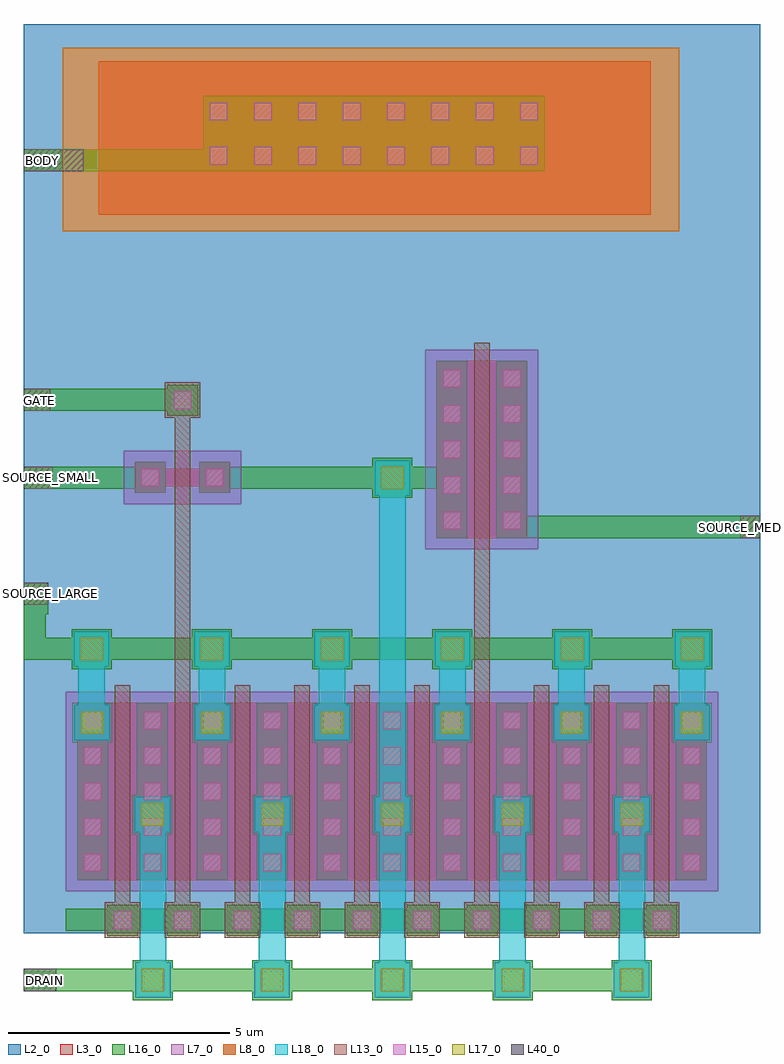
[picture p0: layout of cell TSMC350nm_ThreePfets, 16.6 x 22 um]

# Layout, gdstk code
import gdstk
lib = gdstk.Library(unit=1e-6, precision=1e-09)
def R(c, l, rs):  # rectangles x0, y0, x1, y1
    for r in rs: c.add(gdstk.rectangle(r[:2], r[2:], *l))
def A(c, l, x, y, w, h, nx, ny, dx, dy):  # array of equal rectangles
    R(c, l, [(x+i*dx, y+j*dy, x+i*dx+w, y+j*dy+h) for i in range(nx) for j in range(ny)])
L2_0 = (2, 0)
L3_0 = (3, 0)
L7_0 = (7, 0)
L8_0 = (8, 0)
L13_0 = (13, 0)
L15_0 = (15, 0)
L16_0 = (16, 0)
L17_0 = (17, 0)
L18_0 = (18, 0)
L40_0 = (40, 0)

pch_cdns_731039164600 = lib.new_cell('pch_CDNS_731039164600')
R(pch_cdns_731039164600, L2_0, [(-2.05,-1.2,2.4,5.2)])
R(pch_cdns_731039164600, L3_0, [(-0.85,0,-0.15,4), (-0.85,0,-0.15,4), (-0.15,0,0.5,4), (0.5,0,1.2,4), (0.5,0,1.2,4)])
R(pch_cdns_731039164600, L7_0, [(-1.1,-0.25,1.45,4.25)])
R(pch_cdns_731039164600, L13_0, [(0,-0.4,0.35,4.4)])
A(pch_cdns_731039164600, L15_0, -0.7, 0.2, 0.4, 0.4, 1, 5, 0, 0.8)
A(pch_cdns_731039164600, L15_0, 0.65, 0.2, 0.4, 0.4, 1, 5, 0, 0.8)
R(pch_cdns_731039164600, L16_0, [(-0.85,0,-0.15,4), (0.5,0,1.2,4)])
pch_cdns_731039164600.add(gdstk.Label('G', (0.175,2), layer=59, texttype=0))
pch_cdns_731039164600.add(gdstk.Label('S', (-0.5,2), layer=59, texttype=0))
pch_cdns_731039164600.add(gdstk.Label('D', (0.85,2), layer=59, texttype=0))
pch_cdns_731039164600.add(gdstk.Label('& Vendor VIS Corp.', (0,0), layer=16, texttype=0))
pch_cdns_731039164600.add(gdstk.Label('& PDKName     vis35cv', (0,0), layer=16, texttype=0))
pch_cdns_731039164600.add(gdstk.Label('& Version    \t  1.7A', (0,0), layer=16, texttype=0))
pch_cdns_731039164600.add(gdstk.Label('& Metric 1', (0,0), layer=16, texttype=0))
pch_cdns_731039164600.add(gdstk.Label('& Distributor VIS', (0,0), layer=16, texttype=0))
pch_cdns_731039164600.add(gdstk.Label('& SerialNumber 000000', (0,0), layer=16, texttype=0))
pch_cdns_731039164600.add(gdstk.Label('& Vendor VIS Corp.', (0,0), layer=63, texttype=63))
pch_cdns_731039164600.add(gdstk.Label('& PDKName     vis35cv', (0,0), layer=63, texttype=63))
pch_cdns_731039164600.add(gdstk.Label('& Version    \t  1.7A', (0,0), layer=63, texttype=63))
pch_cdns_731039164600.add(gdstk.Label('& Metric 1', (0,0), layer=63, texttype=63))
pch_cdns_731039164600.add(gdstk.Label('& Distributor VIS', (0,0), layer=63, texttype=63))
pch_cdns_731039164600.add(gdstk.Label('& SerialNumber 000000', (0,0), layer=63, texttype=63))

pch_cdns_731039164601 = lib.new_cell('pch_CDNS_731039164601')
R(pch_cdns_731039164601, L2_0, [(-2.05,-1.2,14.55,5.2)])
A(pch_cdns_731039164601, L3_0, -0.85, 0, 0.7, 4, 11, 1, 1.35, 0)
A(pch_cdns_731039164601, L3_0, -0.15, 0, 0.65, 4, 10, 1, 1.35, 0)
R(pch_cdns_731039164601, L3_0, [(-0.85,0,-0.15,4), (12.65,0,13.35,4)])
R(pch_cdns_731039164601, L7_0, [(-1.1,-0.25,13.6,4.25)])
A(pch_cdns_731039164601, L13_0, 0, -0.4, 0.35, 4.8, 10, 1, 1.35, 0)
A(pch_cdns_731039164601, L15_0, -0.7, 0.2, 0.4, 0.4, 11, 5, 1.35, 0.8)
A(pch_cdns_731039164601, L16_0, -0.85, 0, 0.7, 4, 11, 1, 1.35, 0)
pch_cdns_731039164601.add(gdstk.Label('G', (0.175,2), layer=59, texttype=0))
pch_cdns_731039164601.add(gdstk.Label('G', (1.525,2), layer=59, texttype=0))
pch_cdns_731039164601.add(gdstk.Label('G', (2.875,2), layer=59, texttype=0))
pch_cdns_731039164601.add(gdstk.Label('G', (4.225,2), layer=59, texttype=0))
pch_cdns_731039164601.add(gdstk.Label('G', (5.575,2), layer=59, texttype=0))
pch_cdns_731039164601.add(gdstk.Label('G', (6.925,2), layer=59, texttype=0))
pch_cdns_731039164601.add(gdstk.Label('G', (8.275,2), layer=59, texttype=0))
pch_cdns_731039164601.add(gdstk.Label('G', (9.625,2), layer=59, texttype=0))
pch_cdns_731039164601.add(gdstk.Label('G', (10.975,2), layer=59, texttype=0))
pch_cdns_731039164601.add(gdstk.Label('G', (12.325,2), layer=59, texttype=0))
pch_cdns_731039164601.add(gdstk.Label('S', (13,2), layer=59, texttype=0))
pch_cdns_731039164601.add(gdstk.Label('S', (-0.5,2), layer=59, texttype=0))
pch_cdns_731039164601.add(gdstk.Label('S', (2.2,2), layer=59, texttype=0))
pch_cdns_731039164601.add(gdstk.Label('S', (4.9,2), layer=59, texttype=0))
pch_cdns_731039164601.add(gdstk.Label('S', (7.6,2), layer=59, texttype=0))
pch_cdns_731039164601.add(gdstk.Label('S', (10.3,2), layer=59, texttype=0))
pch_cdns_731039164601.add(gdstk.Label('D', (0.85,2), layer=59, texttype=0))
pch_cdns_731039164601.add(gdstk.Label('D', (3.55,2), layer=59, texttype=0))
pch_cdns_731039164601.add(gdstk.Label('D', (6.25,2), layer=59, texttype=0))
pch_cdns_731039164601.add(gdstk.Label('D', (8.95,2), layer=59, texttype=0))
pch_cdns_731039164601.add(gdstk.Label('D', (11.65,2), layer=59, texttype=0))
pch_cdns_731039164601.add(gdstk.Label('& Vendor VIS Corp.', (0,0), layer=16, texttype=0))
pch_cdns_731039164601.add(gdstk.Label('& PDKName     vis35cv', (0,0), layer=16, texttype=0))
pch_cdns_731039164601.add(gdstk.Label('& Version    \t  1.7A', (0,0), layer=16, texttype=0))
pch_cdns_731039164601.add(gdstk.Label('& Metric 1', (0,0), layer=16, texttype=0))
pch_cdns_731039164601.add(gdstk.Label('& Distributor VIS', (0,0), layer=16, texttype=0))
pch_cdns_731039164601.add(gdstk.Label('& SerialNumber 000000', (0,0), layer=16, texttype=0))
pch_cdns_731039164601.add(gdstk.Label('& Vendor VIS Corp.', (0,0), layer=63, texttype=63))
pch_cdns_731039164601.add(gdstk.Label('& PDKName     vis35cv', (0,0), layer=63, texttype=63))
pch_cdns_731039164601.add(gdstk.Label('& Version    \t  1.7A', (0,0), layer=63, texttype=63))
pch_cdns_731039164601.add(gdstk.Label('& Metric 1', (0,0), layer=63, texttype=63))
pch_cdns_731039164601.add(gdstk.Label('& Distributor VIS', (0,0), layer=63, texttype=63))
pch_cdns_731039164601.add(gdstk.Label('& SerialNumber 000000', (0,0), layer=63, texttype=63))

pch_cdns_731039164602 = lib.new_cell('pch_CDNS_731039164602')
R(pch_cdns_731039164602, L2_0, [(-2.1,-1.35,2.45,1.75)])
R(pch_cdns_731039164602, L3_0, [(-0.9,-0.15,-0.2,0.55), (0.55,-0.15,1.25,0.55), (-0.9,0,-0.2,0.4), (-0.2,0,0.55,0.4), (0.55,0,1.25,0.4)])
R(pch_cdns_731039164602, L7_0, [(-1.15,-0.4,1.5,0.8)])
R(pch_cdns_731039164602, L13_0, [(0,-0.4,0.35,0.8)])
R(pch_cdns_731039164602, L15_0, [(-0.75,0,-0.35,0.4), (0.7,0,1.1,0.4)])
R(pch_cdns_731039164602, L16_0, [(-0.9,-0.15,-0.2,0.55), (0.55,-0.15,1.25,0.55)])
pch_cdns_731039164602.add(gdstk.Label('G', (0.175,0.2), layer=59, texttype=0))
pch_cdns_731039164602.add(gdstk.Label('S', (-0.55,0.2), layer=59, texttype=0))
pch_cdns_731039164602.add(gdstk.Label('D', (0.9,0.2), layer=59, texttype=0))
pch_cdns_731039164602.add(gdstk.Label('& Vendor VIS Corp.', (0,0), layer=16, texttype=0))
pch_cdns_731039164602.add(gdstk.Label('& PDKName     vis35cv', (0,0), layer=16, texttype=0))
pch_cdns_731039164602.add(gdstk.Label('& Version    \t  1.7A', (0,0), layer=16, texttype=0))
pch_cdns_731039164602.add(gdstk.Label('& Metric 1', (0,0), layer=16, texttype=0))
pch_cdns_731039164602.add(gdstk.Label('& Distributor VIS', (0,0), layer=16, texttype=0))
pch_cdns_731039164602.add(gdstk.Label('& SerialNumber 000000', (0,0), layer=16, texttype=0))
pch_cdns_731039164602.add(gdstk.Label('& Vendor VIS Corp.', (0,0), layer=63, texttype=63))
pch_cdns_731039164602.add(gdstk.Label('& PDKName     vis35cv', (0,0), layer=63, texttype=63))
pch_cdns_731039164602.add(gdstk.Label('& Version    \t  1.7A', (0,0), layer=63, texttype=63))
pch_cdns_731039164602.add(gdstk.Label('& Metric 1', (0,0), layer=63, texttype=63))
pch_cdns_731039164602.add(gdstk.Label('& Distributor VIS', (0,0), layer=63, texttype=63))
pch_cdns_731039164602.add(gdstk.Label('& SerialNumber 000000', (0,0), layer=63, texttype=63))

m1_nactive_cdns_73103916 = lib.new_cell('M1_NACTIVE_CDNS_731039164600')
R(m1_nactive_cdns_73103916, L3_0, [(-3.95,-0.95,3.95,0.95)])
R(m1_nactive_cdns_73103916, L8_0, [(-4.2,-1.2,4.2,1.2)])
A(m1_nactive_cdns_73103916, L15_0, -3.7, -0.7, 0.4, 0.4, 8, 2, 1, 1)
R(m1_nactive_cdns_73103916, L16_0, [(-3.85,-0.85,3.85,0.85)])

prog_periph_via2_cdns_73 = lib.new_cell('prog_periph_VIA2_CDNS_731208555850')
R(prog_periph_via2_cdns_73, L16_0, [(-0.45,-0.45,0.45,0.45)])
R(prog_periph_via2_cdns_73, L17_0, [(-0.25,-0.25,0.25,0.25)])
R(prog_periph_via2_cdns_73, L18_0, [(-0.4,-0.4,0.4,0.4)])

m1_poly1__190324780_cdns = lib.new_cell('M1_POLY1$$190324780_CDNS_731208555851')
R(m1_poly1__190324780_cdns, L13_0, [(-0.4,-0.4,0.4,0.4)])
R(m1_poly1__190324780_cdns, L15_0, [(-0.2,-0.2,0.2,0.2)])
R(m1_poly1__190324780_cdns, L16_0, [(-0.35,-0.35,0.35,0.35)])

tsmc350nm_threepfets = lib.new_cell('TSMC350nm_ThreePfets')
R(tsmc350nm_threepfets, L2_0, [(0,1.5,16.6,22)])
R(tsmc350nm_threepfets, L3_0, [(1.69,17.7,14.13,21.16)])
R(tsmc350nm_threepfets, L8_0, [(0.88,17.33,14.78,21.46)])
A(tsmc350nm_threepfets, L13_0, 2.05, 1.64, 0.35, 0.97, 10, 1, 1.35, 0)
R(tsmc350nm_threepfets, L13_0, [(10.15,6.93,10.5,11.09), (3.4,7.04,3.75,13.28)])
R(tsmc350nm_threepfets, L16_0, [(0,0.2,13.96,0.7), (0.95,1.56,14.61,2.06), (0,7.67,14.97,8.17), (0.5,8.69,0.55,9.41), (10.65,10.41,16.6,10.91), (0,11.52,2.99,12.02), (4.22,11.52,9.88,12.02), (0,13.28,3.81,13.78), (0,18.68,4.04,19.18)])
A(tsmc350nm_threepfets, L18_0, 1.23, 5.99, 0.6, 1.88, 4, 1, 2.71, 0)
R(tsmc350nm_threepfets, L18_0, [(2.61,0.37,3.21,4.48), (5.3,0.37,5.9,4.48), (8.01,0.37,8.61,12.05), (10.72,0.37,11.32,4.48), (13.41,0.37,14.01,4.48), (12.05,5.99,12.65,7.87), (14.76,5.99,15.36,7.87)])
R(tsmc350nm_threepfets, L40_0, [(0,0.2,0.73,0.7), (0,8.91,0.55,9.41), (16.15,10.41,16.6,10.91), (0,11.52,0.65,12.02), (0,13.28,0.6,13.78), (0,18.68,1.35,19.18)])
tsmc350nm_threepfets.add(gdstk.FlexPath([(0.25,7.92),(0.25,9.41)], 0.5, ends=(0.25, 0), simple_path=True, layer=16, datatype=0))  # L16_0
tsmc350nm_threepfets.add(gdstk.Reference(pch_cdns_731039164600, (10.15,10.41)))
tsmc350nm_threepfets.add(gdstk.Reference(pch_cdns_731039164601, (2.05,2.7)))
tsmc350nm_threepfets.add(gdstk.Reference(pch_cdns_731039164602, (3.4,11.58)))
tsmc350nm_threepfets.add(gdstk.Reference(m1_nactive_cdns_73103916, (7.89,19.53)))
tsmc350nm_threepfets.add(gdstk.Reference(prog_periph_via2_cdns_73, (1.53,7.91)))
tsmc350nm_threepfets.add(gdstk.Reference(prog_periph_via2_cdns_73, (1.54,6.25)))
tsmc350nm_threepfets.add(gdstk.Reference(prog_periph_via2_cdns_73, (2.9,4.18)))
tsmc350nm_threepfets.add(gdstk.Reference(prog_periph_via2_cdns_73, (2.91,0.45)))
tsmc350nm_threepfets.add(gdstk.Reference(prog_periph_via2_cdns_73, (4.24,7.91)))
tsmc350nm_threepfets.add(gdstk.Reference(prog_periph_via2_cdns_73, (4.25,6.25)))
tsmc350nm_threepfets.add(gdstk.Reference(prog_periph_via2_cdns_73, (5.6,0.45)))
tsmc350nm_threepfets.add(gdstk.Reference(prog_periph_via2_cdns_73, (5.61,4.18)))
tsmc350nm_threepfets.add(gdstk.Reference(prog_periph_via2_cdns_73, (6.95,7.91)))
tsmc350nm_threepfets.add(gdstk.Reference(prog_periph_via2_cdns_73, (6.95,6.25)))
tsmc350nm_threepfets.add(gdstk.Reference(prog_periph_via2_cdns_73, (8.31,11.77)))
tsmc350nm_threepfets.add(gdstk.Reference(prog_periph_via2_cdns_73, (8.31,0.45)))
tsmc350nm_threepfets.add(gdstk.Reference(prog_periph_via2_cdns_73, (8.31,4.18)))
tsmc350nm_threepfets.add(gdstk.Reference(prog_periph_via2_cdns_73, (9.66,7.91)))
tsmc350nm_threepfets.add(gdstk.Reference(prog_periph_via2_cdns_73, (9.66,6.25)))
tsmc350nm_threepfets.add(gdstk.Reference(prog_periph_via2_cdns_73, (11.02,0.45)))
tsmc350nm_threepfets.add(gdstk.Reference(prog_periph_via2_cdns_73, (11.02,4.18)))
tsmc350nm_threepfets.add(gdstk.Reference(prog_periph_via2_cdns_73, (12.35,6.25)))
tsmc350nm_threepfets.add(gdstk.Reference(prog_periph_via2_cdns_73, (12.36,7.91)))
tsmc350nm_threepfets.add(gdstk.Reference(prog_periph_via2_cdns_73, (13.7,0.45)))
tsmc350nm_threepfets.add(gdstk.Reference(prog_periph_via2_cdns_73, (13.71,4.18)))
tsmc350nm_threepfets.add(gdstk.Reference(prog_periph_via2_cdns_73, (15.06,6.25)))
tsmc350nm_threepfets.add(gdstk.Reference(prog_periph_via2_cdns_73, (15.07,7.91)))
tsmc350nm_threepfets.add(gdstk.Reference(m1_poly1__190324780_cdns, (2.23,1.8)))
tsmc350nm_threepfets.add(gdstk.Reference(m1_poly1__190324780_cdns, (3.58,1.8)))
tsmc350nm_threepfets.add(gdstk.Reference(m1_poly1__190324780_cdns, (3.58,13.52)))
tsmc350nm_threepfets.add(gdstk.Reference(m1_poly1__190324780_cdns, (4.93,1.8)))
tsmc350nm_threepfets.add(gdstk.Reference(m1_poly1__190324780_cdns, (6.28,1.8)))
tsmc350nm_threepfets.add(gdstk.Reference(m1_poly1__190324780_cdns, (7.63,1.8)))
tsmc350nm_threepfets.add(gdstk.Reference(m1_poly1__190324780_cdns, (8.98,1.8)))
tsmc350nm_threepfets.add(gdstk.Reference(m1_poly1__190324780_cdns, (10.33,1.8)))
tsmc350nm_threepfets.add(gdstk.Reference(m1_poly1__190324780_cdns, (11.68,1.8)))
tsmc350nm_threepfets.add(gdstk.Reference(m1_poly1__190324780_cdns, (13.03,1.8)))
tsmc350nm_threepfets.add(gdstk.Reference(m1_poly1__190324780_cdns, (14.38,1.8)))
tsmc350nm_threepfets.add(gdstk.Label('GATE', (0.36,13.52), layer=40, texttype=0))
tsmc350nm_threepfets.add(gdstk.Label('SOURCE_SMALL', (0.35,11.78), layer=40, texttype=0))
tsmc350nm_threepfets.add(gdstk.Label('SOURCE_MED', (16.36,10.66), layer=40, texttype=0))
tsmc350nm_threepfets.add(gdstk.Label('DRAIN', (0.46,0.45), layer=40, texttype=0))
tsmc350nm_threepfets.add(gdstk.Label('SOURCE_LARGE', (0.26,9.16), layer=40, texttype=0))
tsmc350nm_threepfets.add(gdstk.Label('BODY', (0.42,18.92), layer=40, texttype=0))

lib.write_gds('TSMC350nm_ThreePfets.gds')
